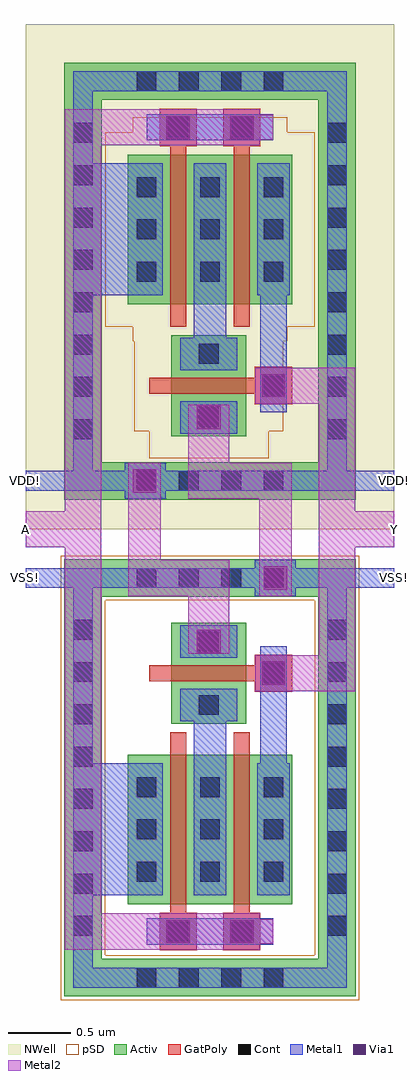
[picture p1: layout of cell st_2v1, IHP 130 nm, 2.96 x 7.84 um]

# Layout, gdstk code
import gdstk
lib = gdstk.Library(unit=1e-6, precision=1e-09)
def R(c, l, rs):  # rectangles x0, y0, x1, y1
    for r in rs: c.add(gdstk.rectangle(r[:2], r[2:], *l))
def A(c, l, x, y, w, h, nx, ny, dx, dy):  # array of equal rectangles
    R(c, l, [(x+i*dx, y+j*dy, x+i*dx+w, y+j*dy+h) for i in range(nx) for j in range(ny)])
Activ = (1, 0)
GatPoly = (5, 0)
Cont = (6, 0)
Metal1 = (8, 0)
Metal2 = (10, 0)
pSD = (14, 0)
Via1 = (19, 0)
NWell = (31, 0)

st_2v1 = lib.new_cell('st_2v1')
R(st_2v1, Activ, [(-0.15,-5.16,2.19,-4.86), (-0.15,-4.86,0.15,-1.95), (1.89,-4.86,2.19,-1.95), (0.36,-4.42,1.68,-3.22), (0.71,-2.97,1.31,-2.16), (-0.15,-1.95,2.19,-1.65), (-0.15,-1.17,2.19,-0.87), (-0.15,-0.87,0.15,2.04), (1.89,-0.87,2.19,2.04), (0.71,-0.66,1.31,0.15), (0.36,0.4,1.68,1.6), (-0.15,2.04,2.19,2.34)])
R(st_2v1, GatPoly, [(0.615,-4.79,0.915,-4.49), (1.125,-4.79,1.425,-4.49), (0.7,-4.49,0.83,-3.04), (1.21,-4.49,1.34,-3.04), (1.38,-2.715,1.68,-2.63), (0.53,-2.63,1.68,-2.5), (1.38,-2.5,1.68,-2.415), (1.38,-0.405,1.68,-0.32), (0.53,-0.32,1.68,-0.19), (1.38,-0.19,1.68,-0.105), (0.7,0.22,0.83,1.67), (1.21,0.22,1.34,1.67), (0.615,1.67,0.915,1.97), (1.125,1.67,1.425,1.97)])
A(st_2v1, Cont, 0.43, -5.09, 0.16, 0.16, 4, 2, 0.34, 3.21)
A(st_2v1, Cont, -0.08, -4.675, 0.16, 0.16, 1, 8, 0, 0.34)
A(st_2v1, Cont, 1.96, -4.675, 0.16, 0.16, 1, 8, 0, 0.34)
A(st_2v1, Cont, 0.43, -4.24, 0.16, 0.16, 3, 3, 0.51, 0.34)
A(st_2v1, Cont, 0.43, -1.1, 0.16, 0.16, 4, 2, 0.34, 3.21)
A(st_2v1, Cont, -0.08, -0.685, 0.16, 0.16, 1, 8, 0, 0.34)
A(st_2v1, Cont, 1.96, -0.685, 0.16, 0.16, 1, 8, 0, 0.34)
A(st_2v1, Cont, 0.43, 0.58, 0.16, 0.16, 3, 3, 0.51, 0.34)
R(st_2v1, Cont, [(0.685,-4.72,0.845,-4.56), (1.195,-4.72,1.355,-4.56), (0.93,-2.9,1.09,-2.74), (1.45,-2.645,1.61,-2.485), (0.93,-2.39,1.09,-2.23), (0.93,-0.59,1.09,-0.43), (1.45,-0.335,1.61,-0.175), (0.93,-0.08,1.09,0.08), (0.685,1.74,0.845,1.9), (1.195,1.74,1.355,1.9)])
R(st_2v1, Metal1, [(-0.08,-5.09,2.12,-4.93), (-0.08,-4.93,0.08,-4.35), (1.96,-4.93,2.12,-1.88), (0.51,-4.745,1.53,-4.535), (-0.08,-4.35,0.64,-3.29), (0.89,-4.35,1.15,-2.95), (1.4,-4.35,1.66,-3.29), (-0.08,-3.29,0.08,-1.88), (1.425,-3.29,1.635,-2.35), (0.78,-2.95,1.24,-2.69), (0.78,-2.44,1.24,-2.18), (1.38,-1.945,1.71,-1.88), (-0.46,-1.88,2.5,-1.72), (1.38,-1.72,1.71,-1.655), (0.335,-1.165,0.665,-1.1), (-0.46,-1.1,2.5,-0.94), (-0.08,-0.94,0.08,0.47), (0.335,-0.94,0.665,-0.875), (1.96,-0.94,2.12,2.11), (0.78,-0.64,1.24,-0.38), (1.425,-0.47,1.635,0.47), (0.78,-0.13,1.24,0.13), (0.89,0.13,1.15,1.53), (-0.08,0.47,0.64,1.53), (1.4,0.47,1.66,1.53), (-0.08,1.53,0.08,2.11), (0.51,1.715,1.53,1.925), (-0.08,2.11,2.12,2.27)])
R(st_2v1, Metal2, [(-0.145,-4.785,1.42,-4.74), (-0.145,-4.74,1.53,-4.54), (-0.145,-4.54,1.42,-4.495), (-0.145,-4.495,0.145,-1.555), (1.385,-2.71,2.185,-2.42), (1.895,-2.42,2.185,-1.555), (0.845,-2.41,1.175,-1.945), (0.365,-1.945,1.175,-1.655), (1.415,-1.945,1.675,-1.165), (0.365,-1.655,0.625,-0.875), (-0.46,-1.555,0.145,-1.265), (1.895,-1.555,2.5,-1.265), (-0.145,-1.265,0.145,1.675), (1.895,-1.265,2.185,-0.4), (0.845,-1.165,1.675,-0.875), (0.845,-0.875,1.175,-0.41), (1.385,-0.4,2.185,-0.11), (-0.145,1.675,1.42,1.72), (-0.145,1.72,1.53,1.92), (-0.145,1.92,1.42,1.965)])
R(st_2v1, pSD, [(-0.18,-5.19,2.22,-4.83), (-0.18,-4.83,0.18,-1.98), (1.86,-4.83,2.22,-1.98), (-0.18,-1.98,2.22,-1.62), (0.53,-0.84,1.49,-0.62), (0.41,-0.62,1.61,0.1), (0.4,0.1,1.64,0.22), (0.18,0.22,1.86,1.78), (0.4,1.78,1.64,1.9)])
R(st_2v1, Via1, [(0.67,-4.735,0.86,-4.545), (1.18,-4.735,1.37,-4.545), (1.435,-2.66,1.625,-2.47), (0.915,-2.405,1.105,-2.215), (1.45,-1.895,1.64,-1.705), (0.4,-1.115,0.59,-0.925), (0.915,-0.605,1.105,-0.415), (1.435,-0.35,1.625,-0.16), (0.67,1.725,0.86,1.915), (1.18,1.725,1.37,1.915)])
R(st_2v1, NWell, [(-0.46,-1.41,2.5,2.65)])
st_2v1.add(gdstk.Label('A', (-0.46,-1.41), layer=10, texttype=25))
st_2v1.add(gdstk.Label('Y', (2.5,-1.41), layer=10, texttype=25))
st_2v1.add(gdstk.Label('VSS!', (-0.46,-1.8), layer=8, texttype=25))
st_2v1.add(gdstk.Label('VSS!', (2.5,-1.8), layer=8, texttype=25))
st_2v1.add(gdstk.Label('VDD!', (-0.46,-1.02), layer=8, texttype=25))
st_2v1.add(gdstk.Label('VDD!', (2.5,-1.02), layer=8, texttype=25))

lib.write_gds('st_2v1.gds')
